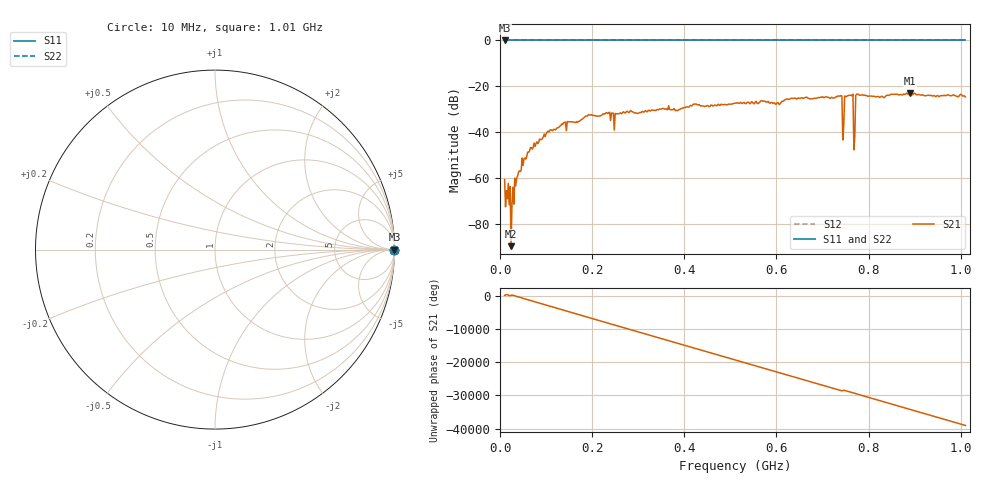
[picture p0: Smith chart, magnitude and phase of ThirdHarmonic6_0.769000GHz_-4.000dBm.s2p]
! 8/16/2025 1:40:58 AM
! C:\ANRITSUVNA\TEMP\TEMP.S2P
! CHANNEL.1
! TR.MEASUREMENT
! RAW.DATA
! RF.CORRECTION.OFF
! AVERAGING.OFF
! IF.BANDWIDTH: 5KHZ
! SWEEPTYPE:  FREQ.SWEEP(Linear)
! Reference Plane Port Info
! PORT:  PORT1  PORT2
! DISTANCE:  0  m  0  m
! TIME:  0  s  0  s
! PHASE.OFFSET:  0  deg.  0  deg.
! LOSS:  0  dB  0  dB
! REF.LOSS:  0  dB  0  dB
! REF.FREQ:  0  Hz  0  Hz
! Power Info
! POWER:  -20  dBm  -20  dBm
! EFF.POWER:  -20  dBm  -20  dBm
! SOURCE.ATTEN:  0  dB  0  dB
! TEST.ATTEN:  0  dB  0  dB
# GHZ S RI R 50.0
! FREQ.GHZ  S11RE  S11IM  S21RE  S21IM  S12RE  S12IM  S22RE  S22IM
!; PortSelection: Port_12
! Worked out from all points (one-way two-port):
!   501 points, 10 MHz to 1.01 GHz, reference 50 ohm
!   highest |S21| = -22.85 dB at 890 MHz (marker M1); lowest = -89.7 dB at 24 MHz (marker M2)
!   lowest |S11| = 0.0 dB at 10 MHz (marker M3)
!   |S11| at or under -10 dB: nowhere
!   |S22| runs from 0.0 to 0.0 dB; largest |S21 - S12| = 1.1
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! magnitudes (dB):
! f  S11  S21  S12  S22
! 10 MHz  0.0  -60.6  0.0  0.0
! 24 MHz  0.0  -89.7  0.0  0.0
! 28 MHz  0.0  -64.0  0.0  0.0
! 36 MHz  0.0  -60.2  0.0  0.0
! 64 MHz  0.0  -48.2  0.0  0.0
! 106 MHz  0.0  -39.9  0.0  0.0
! 178 MHz  0.0  -34.3  0.0  0.0
! 344 MHz  0.0  -30.2  0.0  0.0
! 510 MHz  0.0  -27.3  0.0  0.0
! 678 MHz  0.0  -25.4  0.0  0.0
! 738 MHz  0.0  -24.3  0.0  0.0
! 742 MHz  0.0  -24.2  0.0  0.0
! 748 MHz  0.0  -24.2  0.0  0.0
! 752 MHz  0.0  -24.4  0.0  0.0
! 762 MHz  0.0  -23.9  0.0  0.0
! 766 MHz  0.0  -23.4  0.0  0.0
! 768 MHz  0.0  -47.7  0.0  0.0
! 772 MHz  0.0  -24.0  0.0  0.0
! 776 MHz  0.0  -23.4  0.0  0.0
! 844 MHz  0.0  -23.9  0.0  0.0
! 890 MHz  0.0  -22.8  0.0  0.0
! 1.01 GHz  0.0  -24.6  0.0  0.0
